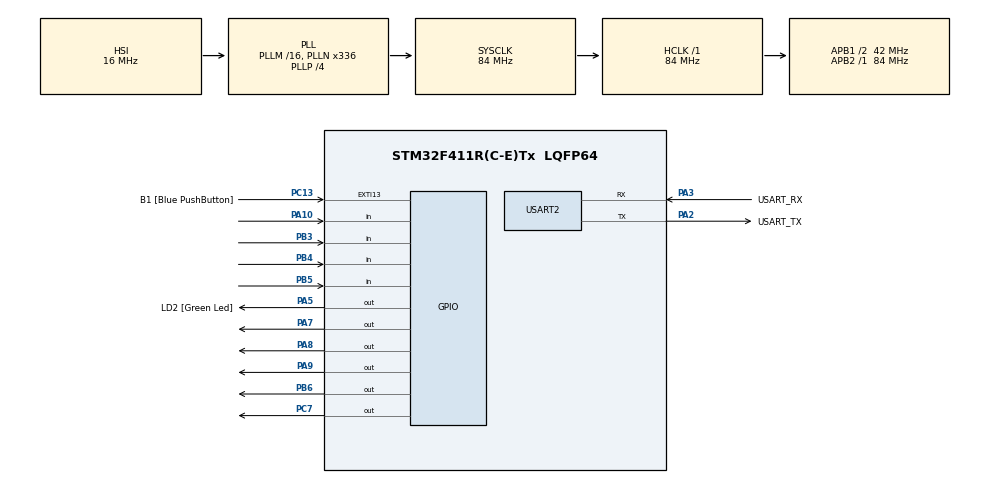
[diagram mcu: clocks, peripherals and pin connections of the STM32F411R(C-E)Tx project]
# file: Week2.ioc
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Mcu.Family=STM32F4
Mcu.Name=STM32F411R(C-E)Tx
Mcu.Package=LQFP64
NVIC.PriorityGroup=NVIC_PRIORITYGROUP_0
PA10.GPIO_PuPd=GPIO_PULLUP
PA10.Signal=GPIO_Input
PA13.GPIO_Label=TMS
PA13.Mode=Serial_Wire
PA13.Signal=SYS_JTMS-SWDIO
PA14.GPIO_Label=TCK
PA14.Mode=Serial_Wire
PA14.Signal=SYS_JTCK-SWCLK
PA2.GPIO_Label=USART_TX
PA2.Mode=Asynchronous
PA2.Signal=USART2_TX
PA3.GPIO_Label=USART_RX
PA3.Mode=Asynchronous
PA3.Signal=USART2_RX
PA5.GPIO_Label=LD2 [Green Led]
PA5.Signal=GPIO_Output
PA7.GPIO_ModeDefaultOutputPP=GPIO_MODE_OUTPUT_OD
PA7.Signal=GPIO_Output
PA8.Signal=GPIO_Output
PA9.GPIO_ModeDefaultOutputPP=GPIO_MODE_OUTPUT_OD
PA9.Signal=GPIO_Output
PB3.GPIO_PuPd=GPIO_PULLUP
PB3.Signal=GPIO_Input
PB4.GPIO_PuPd=GPIO_PULLUP
PB4.Signal=GPIO_Input
PB5.GPIO_PuPd=GPIO_PULLUP
PB5.Signal=GPIO_Input
PB6.GPIO_ModeDefaultOutputPP=GPIO_MODE_OUTPUT_OD
PB6.Signal=GPIO_Output
PC13-ANTI_TAMP.GPIO_Label=B1 [Blue PushButton]
PC13-ANTI_TAMP.GPIO_ModeDefaultEXTI=GPIO_MODE_IT_FALLING
PC13-ANTI_TAMP.Signal=GPXTI13
PC14-OSC32_IN.Mode=LSE-External-Oscillator
PC14-OSC32_IN.Signal=RCC_OSC32_IN
PC15-OSC32_OUT.Mode=LSE-External-Oscillator
PC15-OSC32_OUT.Signal=RCC_OSC32_OUT
PC7.GPIO_ModeDefaultOutputPP=GPIO_MODE_OUTPUT_OD
PC7.Signal=GPIO_Output
PH0\ -\ OSC_IN.Mode=HSE-External-Clock-Source
PH0\ -\ OSC_IN.Signal=RCC_OSC_IN
PH1\ -\ OSC_OUT.Mode=HSE-External-Clock-Source
PH1\ -\ OSC_OUT.Signal=RCC_OSC_OUT
ProjectManager.HeapSize=0x200
ProjectManager.StackSize=0x400
ProjectManager.TargetToolchain=STM32CubeIDE
RCC.48MHZClocksFreq_Value=84000000
RCC.AHBFreq_Value=84000000
RCC.APB1CLKDivider=RCC_HCLK_DIV2
RCC.APB1Freq_Value=42000000
RCC.APB1TimFreq_Value=84000000
RCC.APB2Freq_Value=84000000
RCC.APB2TimFreq_Value=84000000
RCC.CortexFreq_Value=84000000
RCC.FLatency-AdvancedSettings=FLASH_LATENCY_2
RCC.HCLKFreq_Value=84000000
RCC.HSE_VALUE=8000000
RCC.HSI_VALUE=16000000
RCC.PLLN=336
RCC.PLLP=RCC_PLLP_DIV4
RCC.SYSCLKFreq_VALUE=84000000
RCC.SYSCLKSource=RCC_SYSCLKSOURCE_PLLCLK
RCC.VCOOutputFreq_Value=336000000
USART2.VirtualMode=VM_ASYNC
board=NUCLEO-F411RE

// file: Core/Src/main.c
/* USER CODE BEGIN Header */
/**
  ******************************************************************************
  * @file           : main.c
  * @brief          : Main program body
  ******************************************************************************
  * @attention
  *
  * <h2><center>&copy; Copyright (c) 2021 STMicroelectronics.
  * All rights reserved.</center></h2>
  *
  * This software component is licensed by ST under BSD 3-Clause license,
  * the "License"; You may not use this file except in compliance with the
  * License. You may obtain a copy of the License at:
  *                        opensource.org/licenses/BSD-3-Clause
  *
  ******************************************************************************
  */
/* USER CODE END Header */
#include "main.h"

UART_HandleTypeDef huart2;

/* USER CODE BEGIN PV */
//Save status
uint16_t ButtonMatrixState = 0;
/* USER CODE END PV */

void SystemClock_Config(void);
static void MX_GPIO_Init(void);
static void MX_USART2_UART_Init(void);
/* USER CODE BEGIN PFP */
//Scan update data of button
uint32_t ButtonMatrixTimestamp = 0;
void ButtonMatrixUpdate();
uint16_t Collect[12]={0};
uint16_t Result[12]={64,512,1024,16,4096,32,4096,4096,4096,4096,16,0};
int pointer = 0;
int check = 0;
/* USER CODE END PFP */

int main(void)
{

  /* MCU Configuration--------------------------------------------------------*/

  /* Reset of all peripherals, Initializes the Flash interface and the Systick. */
  HAL_Init();

  /* Configure the system clock */
  SystemClock_Config();

  /* Initialize all configured peripherals */
  MX_GPIO_Init();
  MX_USART2_UART_Init();
  /* USER CODE BEGIN 2 */
  HAL_GPIO_WritePin(GPIOA, GPIO_PIN_8, GPIO_PIN_SET);
  /* USER CODE END 2 */

  /* Infinite loop */
  /* USER CODE BEGIN WHILE */
  while (1)
  {

	  /*HAL_GPIO_WritePin(GPIOA, GPIO_PIN_7, GPIO_PIN_RESET);
	  HAL_GPIO_WritePin(GPIOA, GPIO_PIN_9, GPIO_PIN_RESET);
	  HAL_GPIO_WritePin(GPIOB, GPIO_PIN_6, GPIO_PIN_RESET);
	  HAL_GPIO_WritePin(GPIOC, GPIO_PIN_7, GPIO_PIN_RESET);*/
    /* USER CODE END WHILE */

    /* USER CODE BEGIN 3 */
	  ButtonMatrixUpdate();
  }
  /* USER CODE END 3 */
}

void SystemClock_Config(void)
{
  RCC_OscInitTypeDef RCC_OscInitStruct = {0};
  RCC_ClkInitTypeDef RCC_ClkInitStruct = {0};

  /** Configure the main internal regulator output voltage
  */
  __HAL_RCC_PWR_CLK_ENABLE();
  __HAL_PWR_VOLTAGESCALING_CONFIG(PWR_REGULATOR_VOLTAGE_SCALE1);
  /** Initializes the RCC Oscillators according to the specified parameters
  * in the RCC_OscInitTypeDef structure.
  */
  RCC_OscInitStruct.OscillatorType = RCC_OSCILLATORTYPE_HSI;
  RCC_OscInitStruct.HSIState = RCC_HSI_ON;
  RCC_OscInitStruct.HSICalibrationValue = RCC_HSICALIBRATION_DEFAULT;
  RCC_OscInitStruct.PLL.PLLState = RCC_PLL_ON;
  RCC_OscInitStruct.PLL.PLLSource = RCC_PLLSOURCE_HSI;
  RCC_OscInitStruct.PLL.PLLM = 16;
  RCC_OscInitStruct.PLL.PLLN = 336;
  RCC_OscInitStruct.PLL.PLLP = RCC_PLLP_DIV4;
  RCC_OscInitStruct.PLL.PLLQ = 4;
  if (HAL_RCC_OscConfig(&RCC_OscInitStruct) != HAL_OK)
  {
    Error_Handler();
  }
  /** Initializes the CPU, AHB and APB buses clocks
  */
  RCC_ClkInitStruct.ClockType = RCC_CLOCKTYPE_HCLK|RCC_CLOCKTYPE_SYSCLK
                              |RCC_CLOCKTYPE_PCLK1|RCC_CLOCKTYPE_PCLK2;
  RCC_ClkInitStruct.SYSCLKSource = RCC_SYSCLKSOURCE_PLLCLK;
  RCC_ClkInitStruct.AHBCLKDivider = RCC_SYSCLK_DIV1;
  RCC_ClkInitStruct.APB1CLKDivider = RCC_HCLK_DIV2;
  RCC_ClkInitStruct.APB2CLKDivider = RCC_HCLK_DIV1;

  if (HAL_RCC_ClockConfig(&RCC_ClkInitStruct, FLASH_LATENCY_2) != HAL_OK)
  {
    Error_Handler();
  }
}

static void MX_USART2_UART_Init(void)
{

  huart2.Instance = USART2;
  huart2.Init.BaudRate = 115200;
  huart2.Init.WordLength = UART_WORDLENGTH_8B;
  huart2.Init.StopBits = UART_STOPBITS_1;
  huart2.Init.Parity = UART_PARITY_NONE;
  huart2.Init.Mode = UART_MODE_TX_RX;
  huart2.Init.HwFlowCtl = UART_HWCONTROL_NONE;
  huart2.Init.OverSampling = UART_OVERSAMPLING_16;
  if (HAL_UART_Init(&huart2) != HAL_OK)
  {
    Error_Handler();
  }

}

static void MX_GPIO_Init(void)
{
  GPIO_InitTypeDef GPIO_InitStruct = {0};

  /* GPIO Ports Clock Enable */
  __HAL_RCC_GPIOC_CLK_ENABLE();
  __HAL_RCC_GPIOH_CLK_ENABLE();
  __HAL_RCC_GPIOA_CLK_ENABLE();
  __HAL_RCC_GPIOB_CLK_ENABLE();

  /*Configure GPIO pin Output Level */
  HAL_GPIO_WritePin(GPIOA, LD2_Pin|GPIO_PIN_7|GPIO_PIN_8|GPIO_PIN_9, GPIO_PIN_RESET);

  /*Configure GPIO pin Output Level */
  HAL_GPIO_WritePin(GPIOC, GPIO_PIN_7, GPIO_PIN_RESET);

  /*Configure GPIO pin Output Level */
  HAL_GPIO_WritePin(GPIOB, GPIO_PIN_6, GPIO_PIN_RESET);

  /*Configure GPIO pin : B1_Pin */
  GPIO_InitStruct.Pin = B1_Pin;
  GPIO_InitStruct.Mode = GPIO_MODE_IT_FALLING;
  GPIO_InitStruct.Pull = GPIO_NOPULL;
  HAL_GPIO_Init(B1_GPIO_Port, &GPIO_InitStruct);

  /*Configure GPIO pins : LD2_Pin PA8 */
  GPIO_InitStruct.Pin = LD2_Pin|GPIO_PIN_8;
  GPIO_InitStruct.Mode = GPIO_MODE_OUTPUT_PP;
  GPIO_InitStruct.Pull = GPIO_NOPULL;
  GPIO_InitStruct.Speed = GPIO_SPEED_FREQ_LOW;
  HAL_GPIO_Init(GPIOA, &GPIO_InitStruct);

  /*Configure GPIO pins : PA7 PA9 */
  GPIO_InitStruct.Pin = GPIO_PIN_7|GPIO_PIN_9;
  GPIO_InitStruct.Mode = GPIO_MODE_OUTPUT_OD;
  GPIO_InitStruct.Pull = GPIO_NOPULL;
  GPIO_InitStruct.Speed = GPIO_SPEED_FREQ_LOW;
  HAL_GPIO_Init(GPIOA, &GPIO_InitStruct);

  /*Configure GPIO pin : PC7 */
  GPIO_InitStruct.Pin = GPIO_PIN_7;
  GPIO_InitStruct.Mode = GPIO_MODE_OUTPUT_OD;
  GPIO_InitStruct.Pull = GPIO_NOPULL;
  GPIO_InitStruct.Speed = GPIO_SPEED_FREQ_LOW;
  HAL_GPIO_Init(GPIOC, &GPIO_InitStruct);

  /*Configure GPIO pin : PA10 */
  GPIO_InitStruct.Pin = GPIO_PIN_10;
  GPIO_InitStruct.Mode = GPIO_MODE_INPUT;
  GPIO_InitStruct.Pull = GPIO_PULLUP;
  HAL_GPIO_Init(GPIOA, &GPIO_InitStruct);

  /*Configure GPIO pins : PB3 PB4 PB5 */
  GPIO_InitStruct.Pin = GPIO_PIN_3|GPIO_PIN_4|GPIO_PIN_5;
  GPIO_InitStruct.Mode = GPIO_MODE_INPUT;
  GPIO_InitStruct.Pull = GPIO_PULLUP;
  HAL_GPIO_Init(GPIOB, &GPIO_InitStruct);

  /*Configure GPIO pin : PB6 */
  GPIO_InitStruct.Pin = GPIO_PIN_6;
  GPIO_InitStruct.Mode = GPIO_MODE_OUTPUT_OD;
  GPIO_InitStruct.Pull = GPIO_NOPULL;
  GPIO_InitStruct.Speed = GPIO_SPEED_FREQ_LOW;
  HAL_GPIO_Init(GPIOB, &GPIO_InitStruct);

}

/* USER CODE BEGIN 4 */
GPIO_TypeDef* ButtonMatrixPort[8] =
{GPIOA ,GPIOB, GPIOB, GPIOB, GPIOA, GPIOC, GPIOB, GPIOA};
uint16_t ButtonMatrixPin[8]=
{GPIO_PIN_10,GPIO_PIN_3,GPIO_PIN_5,GPIO_PIN_4,GPIO_PIN_9,GPIO_PIN_7,GPIO_PIN_6,GPIO_PIN_7};

uint8_t ButtonMatrixRow =0;
void ButtonMatrixUpdate()
{
	if(HAL_GetTick() - ButtonMatrixTimestamp >= 100)
	{
		ButtonMatrixTimestamp = HAL_GetTick();
		int i;
		for(i=0;i<4;++i)
		{
			GPIO_PinState PinState = HAL_GPIO_ReadPin(ButtonMatrixPort[i], ButtonMatrixPin[i]);
			if(PinState == GPIO_PIN_RESET) //button press
			{
				ButtonMatrixState |= (uint16_t)0x1 << (i + ButtonMatrixRow * 4);
				if(ButtonMatrixState == 8)
				{
					for(i=0;i<12;++i)
					{Collect[i]=0;}
					pointer =0;
				}
				else if(ButtonMatrixState == 32768)
				{
					for(i=0;i<12;i++)
					{
						if(Collect[i]==Result[i])
						{check++;}
					}
					if(check==12)
					{
						HAL_GPIO_WritePin(GPIOA, GPIO_PIN_8, GPIO_PIN_RESET);
					}
					else
					{
						HAL_GPIO_WritePin(GPIOA, GPIO_PIN_8, GPIO_PIN_SET);
					}
					for(i=0;i<12;++i)
					{Collect[i]=0;}
					pointer =0;
				}
				else if(ButtonMatrixState == 128)
				{
					pointer-=1;
					Collect[pointer] = 0;
				}
				else if(pointer<11)
				{
					HAL_GPIO_WritePin(GPIOA, GPIO_PIN_8, GPIO_PIN_SET);
					Collect[pointer] = ButtonMatrixState;
					pointer += 1;
				}
				else
				{Collect[11]=ButtonMatrixState;}

			}
			else
			{
				ButtonMatrixState &= ~((uint16_t)0x1 << (i + ButtonMatrixRow * 4));

			}
		}
		uint8_t NowOutputPin = ButtonMatrixRow +4;

		HAL_GPIO_WritePin(ButtonMatrixPort[NowOutputPin], ButtonMatrixPin[NowOutputPin], GPIO_PIN_SET);

		ButtonMatrixRow = (ButtonMatrixRow + 1) % 4;

		uint8_t NextOutputPin = ButtonMatrixRow +4;

		HAL_GPIO_WritePin(ButtonMatrixPort[NextOutputPin], ButtonMatrixPin[NextOutputPin], GPIO_PIN_RESET);

	}
}

/* USER CODE END 4 */

void Error_Handler(void)
{
  __disable_irq();
  while (1)
  {
  }
}

/************************ (C) COPYRIGHT STMicroelectronics *****END OF FILE****/
